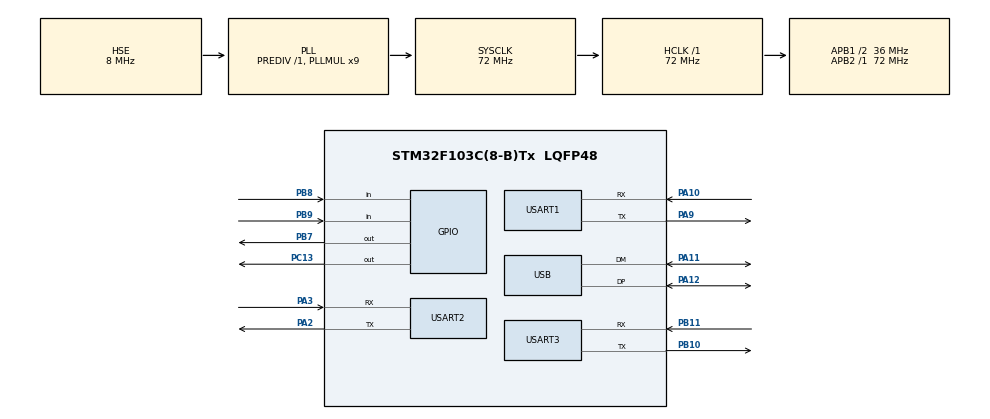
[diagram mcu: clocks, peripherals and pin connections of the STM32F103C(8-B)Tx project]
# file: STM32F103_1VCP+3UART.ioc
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Dma.MEMTOMEM.6.Direction=DMA_MEMORY_TO_MEMORY
Dma.MEMTOMEM.6.Instance=DMA1_Channel1
Dma.MEMTOMEM.6.MemDataAlignment=DMA_MDATAALIGN_BYTE
Dma.MEMTOMEM.6.MemInc=DMA_MINC_ENABLE
Dma.MEMTOMEM.6.Mode=DMA_NORMAL
Dma.MEMTOMEM.6.PeriphDataAlignment=DMA_PDATAALIGN_BYTE
Dma.MEMTOMEM.6.PeriphInc=DMA_PINC_ENABLE
Dma.MEMTOMEM.6.Priority=DMA_PRIORITY_MEDIUM
Dma.Request0=USART1_RX
Dma.Request1=USART1_TX
Dma.Request2=USART2_RX
Dma.Request3=USART2_TX
Dma.Request4=USART3_RX
Dma.Request5=USART3_TX
Dma.Request6=MEMTOMEM
Dma.USART1_RX.0.Direction=DMA_PERIPH_TO_MEMORY
Dma.USART1_RX.0.Instance=DMA1_Channel5
Dma.USART1_RX.0.MemDataAlignment=DMA_MDATAALIGN_BYTE
Dma.USART1_RX.0.MemInc=DMA_MINC_ENABLE
Dma.USART1_RX.0.Mode=DMA_CIRCULAR
Dma.USART1_RX.0.PeriphDataAlignment=DMA_PDATAALIGN_BYTE
Dma.USART1_RX.0.PeriphInc=DMA_PINC_DISABLE
Dma.USART1_RX.0.Priority=DMA_PRIORITY_HIGH
Dma.USART1_TX.1.Direction=DMA_MEMORY_TO_PERIPH
Dma.USART1_TX.1.Instance=DMA1_Channel4
Dma.USART1_TX.1.MemDataAlignment=DMA_MDATAALIGN_BYTE
Dma.USART1_TX.1.MemInc=DMA_MINC_ENABLE
Dma.USART1_TX.1.Mode=DMA_NORMAL
Dma.USART1_TX.1.PeriphDataAlignment=DMA_PDATAALIGN_BYTE
Dma.USART1_TX.1.PeriphInc=DMA_PINC_DISABLE
Dma.USART1_TX.1.Priority=DMA_PRIORITY_LOW
Dma.USART2_RX.2.Direction=DMA_PERIPH_TO_MEMORY
Dma.USART2_RX.2.Instance=DMA1_Channel6
Dma.USART2_RX.2.MemDataAlignment=DMA_MDATAALIGN_BYTE
Dma.USART2_RX.2.MemInc=DMA_MINC_ENABLE
Dma.USART2_RX.2.Mode=DMA_CIRCULAR
Dma.USART2_RX.2.PeriphDataAlignment=DMA_PDATAALIGN_BYTE
Dma.USART2_RX.2.PeriphInc=DMA_PINC_DISABLE
Dma.USART2_RX.2.Priority=DMA_PRIORITY_HIGH
Dma.USART2_TX.3.Direction=DMA_MEMORY_TO_PERIPH
Dma.USART2_TX.3.Instance=DMA1_Channel7
Dma.USART2_TX.3.MemDataAlignment=DMA_MDATAALIGN_BYTE
Dma.USART2_TX.3.MemInc=DMA_MINC_ENABLE
Dma.USART2_TX.3.Mode=DMA_NORMAL
Dma.USART2_TX.3.PeriphDataAlignment=DMA_PDATAALIGN_BYTE
Dma.USART2_TX.3.PeriphInc=DMA_PINC_DISABLE
Dma.USART2_TX.3.Priority=DMA_PRIORITY_LOW
Dma.USART3_RX.4.Direction=DMA_PERIPH_TO_MEMORY
Dma.USART3_RX.4.Instance=DMA1_Channel3
Dma.USART3_RX.4.MemDataAlignment=DMA_MDATAALIGN_BYTE
Dma.USART3_RX.4.MemInc=DMA_MINC_ENABLE
Dma.USART3_RX.4.Mode=DMA_CIRCULAR
Dma.USART3_RX.4.PeriphDataAlignment=DMA_PDATAALIGN_BYTE
Dma.USART3_RX.4.PeriphInc=DMA_PINC_DISABLE
Dma.USART3_RX.4.Priority=DMA_PRIORITY_HIGH
Dma.USART3_TX.5.Direction=DMA_MEMORY_TO_PERIPH
Dma.USART3_TX.5.Instance=DMA1_Channel2
Dma.USART3_TX.5.MemDataAlignment=DMA_MDATAALIGN_BYTE
Dma.USART3_TX.5.MemInc=DMA_MINC_ENABLE
Dma.USART3_TX.5.Mode=DMA_NORMAL
Dma.USART3_TX.5.PeriphDataAlignment=DMA_PDATAALIGN_BYTE
Dma.USART3_TX.5.PeriphInc=DMA_PINC_DISABLE
Dma.USART3_TX.5.Priority=DMA_PRIORITY_LOW
Mcu.Family=STM32F1
Mcu.Name=STM32F103C(8-B)Tx
Mcu.Package=LQFP48
NVIC.DMA1_Channel2_IRQn=true\:0\:0\:false\:false\:true\:false\:true
NVIC.DMA1_Channel3_IRQn=true\:0\:0\:false\:false\:true\:false\:true
NVIC.DMA1_Channel4_IRQn=true\:0\:0\:false\:false\:true\:false\:true
NVIC.DMA1_Channel5_IRQn=true\:0\:0\:false\:false\:true\:false\:true
NVIC.DMA1_Channel6_IRQn=true\:0\:0\:false\:false\:true\:false\:true
NVIC.DMA1_Channel7_IRQn=true\:0\:0\:false\:false\:true\:false\:true
NVIC.PriorityGroup=NVIC_PRIORITYGROUP_4
NVIC.USART1_IRQn=true\:0\:0\:false\:false\:true\:true\:true
NVIC.USART2_IRQn=true\:0\:0\:false\:false\:true\:true\:true
NVIC.USART3_IRQn=true\:0\:0\:false\:false\:true\:true\:true
NVIC.USB_LP_CAN1_RX0_IRQn=true\:0\:0\:false\:false\:true\:false\:true
PA10.Mode=Asynchronous
PA10.Signal=USART1_RX
PA11.Mode=Device
PA11.Signal=USB_DM
PA12.Mode=Device
PA12.Signal=USB_DP
PA13.Mode=Serial_Wire
PA13.Signal=SYS_JTMS-SWDIO
PA14.Mode=Serial_Wire
PA14.Signal=SYS_JTCK-SWCLK
PA2.Mode=Asynchronous
PA2.Signal=USART2_TX
PA3.Mode=Asynchronous
PA3.Signal=USART2_RX
PA9.Mode=Asynchronous
PA9.Signal=USART1_TX
PB10.Mode=Asynchronous
PB10.Signal=USART3_TX
PB11.Mode=Asynchronous
PB11.Signal=USART3_RX
PB7.GPIO_PuPd=GPIO_PULLDOWN
PB7.Signal=GPIO_Output
PB8.GPIO_PuPd=GPIO_PULLUP
PB8.Signal=GPIO_Input
PB9.GPIO_PuPd=GPIO_PULLUP
PB9.Signal=GPIO_Input
PC13-TAMPER-RTC.GPIO_PuPd=GPIO_PULLUP
PC13-TAMPER-RTC.Signal=GPIO_Output
PD0-OSC_IN.Mode=HSE-External-Oscillator
PD0-OSC_IN.Signal=RCC_OSC_IN
PD1-OSC_OUT.Mode=HSE-External-Oscillator
PD1-OSC_OUT.Signal=RCC_OSC_OUT
ProjectManager.HeapSize=0x2000
ProjectManager.StackSize=0x400
ProjectManager.TargetToolchain=MDK-ARM V5.27
RCC.AHBFreq_Value=72000000
RCC.APB1CLKDivider=RCC_HCLK_DIV2
RCC.APB1Freq_Value=36000000
RCC.APB1TimFreq_Value=72000000
RCC.APB2Freq_Value=72000000
RCC.APB2TimFreq_Value=72000000
RCC.HCLKFreq_Value=72000000
RCC.PLLMUL=RCC_PLL_MUL9
RCC.SYSCLKFreq_VALUE=72000000
RCC.SYSCLKSource=RCC_SYSCLKSOURCE_PLLCLK
RCC.USBFreq_Value=48000000
RCC.USBPrescaler=RCC_USBCLKSOURCE_PLL_DIV1_5
USART1.VirtualMode=VM_ASYNC
USART2.VirtualMode=VM_ASYNC
USART3.VirtualMode=VM_ASYNC
USB_DEVICE.APP_RX_DATA_SIZE=1000
USB_DEVICE.APP_TX_DATA_SIZE=1000
USB_DEVICE.CLASS_NAME_FS=CDC
USB_DEVICE.VirtualMode=Cdc
USB_DEVICE.VirtualModeFS=Cdc_FS
VP_USB_DEVICE_VS_USB_DEVICE_CDC_FS.Mode=CDC_FS
board=custom

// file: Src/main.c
/* USER CODE BEGIN Header */
/**
  ******************************************************************************
  * @file           : main.c
  * @brief          : Main program body
  ******************************************************************************
  * @attention
  *
  * <h2><center>&copy; Copyright (c) 2021 STMicroelectronics.
  * All rights reserved.</center></h2>
  *
  * This software component is licensed by ST under Ultimate Liberty license
  * SLA0044, the "License"; You may not use this file except in compliance with
  * the License. You may obtain a copy of the License at:
  *                             www.st.com/SLA0044
  *
  ******************************************************************************
  */
/* USER CODE END Header */
#include "main.h"
#include "usb_device.h"

/* USER CODE BEGIN Includes */
#include <string.h>
#include "usbd_cdc_if.h"

/* USER CODE END Includes */

/* USER CODE BEGIN PD */

const uint8_t vcp_print_info[] =
{
"\r\n\
====================================\r\n\
Uart-1:  Rx-PA10   Tx-PA9\r\n\
Uart-2:  Rx-PA3    -\r\n\
Uart-3:  Rx-PB11   -\r\n\r\n\
short PB7-PB8, print in Hex mode, or\r\n\
short PB8-PB9, print in ASCII mode\r\n\r\n\
Uart speed = USB-VCP speed.\r\n\
====================================\r\n"
};

#define USE_UART_PREFIX         1 //0 - disable, 1 - VCP received "Uart-1: " as UART1 Rx message prefix.

#define UARTx_PREFIX_LEN        10
#define UART1_PREFIX            "\r\nUart-1: "
#define UART2_PREFIX            "\r\nUart-2: "
#define UART3_PREFIX            "\r\nUart-3: "

const uint8_t uart1_prefix[16] = {UART1_PREFIX};
const uint8_t uart2_prefix[16] = {UART2_PREFIX};
const uint8_t uart3_prefix[16] = {UART3_PREFIX};

/* USER CODE END PD */

UART_HandleTypeDef huart1;
UART_HandleTypeDef huart2;
UART_HandleTypeDef huart3;
DMA_HandleTypeDef hdma_usart1_rx;
DMA_HandleTypeDef hdma_usart1_tx;
DMA_HandleTypeDef hdma_usart2_rx;
DMA_HandleTypeDef hdma_usart2_tx;
DMA_HandleTypeDef hdma_usart3_rx;
DMA_HandleTypeDef hdma_usart3_tx;

DMA_HandleTypeDef hdma_memtomem_dma1_channel1;
/* USER CODE BEGIN PV */
volatile uint32_t u32LEDcounter;
uint32_t u32LEDblinkEnable;
uint32_t pause_for_line_open = 1;
uint32_t print_hex_flag = 0;      //0-ASCII, 1-HEX print out
const char HEX[] = "0123456789ABCDEF";
static uint8_t u8CDC_Tx_Buf[1024] = {0};

/* USER CODE END PV */

void SystemClock_Config(void);
static void MX_GPIO_Init(void);
static void MX_DMA_Init(void);
static void MX_USART1_UART_Init(void);
static void MX_USART2_UART_Init(void);
static void MX_USART3_UART_Init(void);
/* USER CODE BEGIN PFP */
ctx_t ctx;

/* USER CODE END PFP */

/* USER CODE BEGIN 0 */
void CDC_Tx_HexString(uint8_t *data, uint8_t length)
{
  int len = length;

  while(len--)
  {
    *(u8CDC_Tx_Buf+3*len+2) = ' '; //space
    *(u8CDC_Tx_Buf+3*len+1) = HEX[(*(data+len))&0x0f];
    *(u8CDC_Tx_Buf+3*len)   = HEX[(*(data+len))>>4];
  }
  while (CDC_Transmit_FS(u8CDC_Tx_Buf, 3*length) == USBD_BUSY) //print out
  {
  }
}

void CDC_Tx_AscString(uint8_t *data, uint8_t length)
{
  while (CDC_Transmit_FS(data, length) == USBD_BUSY) //print out
  {
  }
}

/* USER CODE END 0 */

int main(void)
{
  /* USER CODE BEGIN 1 */

//  SCB->VTOR = 0x08004000; //uncomment this line for YAB use, set IROM1 Start address coordinately.

  int i;
  uart_ctx_t * uart_ctx;
  memset(&ctx, 0, sizeof(ctx_t));
  uint8_t * prefix;

  ctx.uart1.name = "UART1";
  ctx.uart1.huart = &huart1;
  ctx.uart1.hdma_rx = &hdma_usart1_rx;
  ctx.uart1.hdma_tx = &hdma_usart1_tx;
  ctx.uart1.prefix = (uint8_t*)&uart1_prefix;
  ctx.uart1.irq_num = USART1_IRQn;

  ctx.uart2.name = "UART2";
  ctx.uart2.huart = &huart2;
  ctx.uart2.hdma_rx = &hdma_usart2_rx;
  ctx.uart2.hdma_tx = &hdma_usart2_tx;
  ctx.uart2.prefix = (uint8_t*)&uart2_prefix;
  ctx.uart2.irq_num = USART2_IRQn;

  ctx.uart3.name = "UART3";
  ctx.uart3.huart = &huart3;
  ctx.uart3.hdma_rx = &hdma_usart3_rx;
  ctx.uart3.hdma_tx = &hdma_usart3_tx;
  ctx.uart3.prefix = (uint8_t*)&uart3_prefix;
  ctx.uart3.irq_num = USART3_IRQn;

  ctx.memcpy_dma = &hdma_memtomem_dma1_channel1;

  /* USER CODE END 1 */

  /* MCU Configuration--------------------------------------------------------*/

  /* Reset of all peripherals, Initializes the Flash interface and the Systick. */
  HAL_Init();

  /* Configure the system clock */
  SystemClock_Config();

  /* Initialize all configured peripherals */
  MX_GPIO_Init();
  MX_DMA_Init();
  MX_USART1_UART_Init();
  MX_USART2_UART_Init();
  MX_USART3_UART_Init();
  MX_USB_DEVICE_Init();
  /* USER CODE BEGIN 2 */

  while(pause_for_line_open)
  {
    HAL_Delay(100);
  }
  HAL_Delay(1000);
  //send info
  CDC_Transmit_FS((uint8_t *)vcp_print_info, sizeof(vcp_print_info)-1);

  /* USER CODE END 2 */

  /* Infinite loop */
  /* USER CODE BEGIN WHILE */
  while (1)
  {
    // __wfe();
    /* USER CODE END WHILE */

    /* USER CODE BEGIN 3 */
    for (i = 1; i <= 3; i++)
    {
      if (i == 1)      uart_ctx = &ctx.uart1;
      else if (i == 2) uart_ctx = &ctx.uart2;
      else             uart_ctx = &ctx.uart3;

      if (uart_ctx->buf_idx != uart_ctx->buf.idx)
      {
        int buf_idx = uart_ctx->buf_idx;

#if USE_UART_PREFIX
        CDC_Transmit_FS(uart_ctx->prefix, UARTx_PREFIX_LEN); //print: "Uart-x: "
#endif //#if USE_UART_PREFIX

        if (!print_hex_flag)
             CDC_Tx_AscString((uint8_t *)uart_ctx->buf.data[buf_idx], uart_ctx->buf.len[buf_idx]);
        else CDC_Tx_HexString((uint8_t *)uart_ctx->buf.data[buf_idx], uart_ctx->buf.len[buf_idx]);

        uart_ctx->buf_idx = buf_idx ? 0 : 1;
        // SEGGER_RTT_printf(0, "mloop: buf=%d\n", buf_idx);
      }

      if (uart_ctx->buf.rest_len > 0)
      {
        int tx_len = uart_ctx->buf.rest_len;
        uart_ctx->buf.rest_len = 0;
        uart_ctx->buf_idx = 0;

#if USE_UART_PREFIX
        CDC_Transmit_FS(uart_ctx->prefix, UARTx_PREFIX_LEN); //print: "UARTx: "
#endif //#if USE_UART_PREFIX

        if (!print_hex_flag)
             CDC_Tx_AscString((uint8_t *)uart_ctx->buf.data_rest, tx_len);
        else CDC_Tx_HexString((uint8_t *)uart_ctx->buf.data_rest, tx_len);
        // SEGGER_RTT_printf(0, "rest: len=%d\n", tx_len);
      }
    }
    //LED
    if (u32LEDblinkEnable)
    {
      if (u32LEDcounter <= 50) //~50ms on
      {
        HAL_GPIO_WritePin(GPIOC, GPIO_PIN_13, GPIO_PIN_RESET); //LED on
      }
      else
      {
        HAL_GPIO_WritePin(GPIOC, GPIO_PIN_13, GPIO_PIN_SET); //LED off
        u32LEDblinkEnable = 0;
      }
    }
    else
    {
      if (u32LEDcounter >= 2000) //~2s blink
      {
        u32LEDblinkEnable = 1;
        u32LEDcounter = 1;

        if (0 == HAL_GPIO_ReadPin(GPIOB, GPIO_PIN_8)) print_hex_flag = 1; //PB8=Low,  HEX mode
        else                                          print_hex_flag = 0; //PB8=High, ASCII mode
      }
    }
  }
  /* USER CODE END 3 */
}

void SystemClock_Config(void)
{
  RCC_OscInitTypeDef RCC_OscInitStruct = {0};
  RCC_ClkInitTypeDef RCC_ClkInitStruct = {0};
  RCC_PeriphCLKInitTypeDef PeriphClkInit = {0};

  /** Initializes the RCC Oscillators according to the specified parameters
  * in the RCC_OscInitTypeDef structure.
  */
  RCC_OscInitStruct.OscillatorType = RCC_OSCILLATORTYPE_HSE;
  RCC_OscInitStruct.HSEState = RCC_HSE_ON;
  RCC_OscInitStruct.HSEPredivValue = RCC_HSE_PREDIV_DIV1;
  RCC_OscInitStruct.HSIState = RCC_HSI_ON;
  RCC_OscInitStruct.PLL.PLLState = RCC_PLL_ON;
  RCC_OscInitStruct.PLL.PLLSource = RCC_PLLSOURCE_HSE;
  RCC_OscInitStruct.PLL.PLLMUL = RCC_PLL_MUL9;
  if (HAL_RCC_OscConfig(&RCC_OscInitStruct) != HAL_OK)
  {
    Error_Handler();
  }
  /** Initializes the CPU, AHB and APB buses clocks
  */
  RCC_ClkInitStruct.ClockType = RCC_CLOCKTYPE_HCLK|RCC_CLOCKTYPE_SYSCLK
                              |RCC_CLOCKTYPE_PCLK1|RCC_CLOCKTYPE_PCLK2;
  RCC_ClkInitStruct.SYSCLKSource = RCC_SYSCLKSOURCE_PLLCLK;
  RCC_ClkInitStruct.AHBCLKDivider = RCC_SYSCLK_DIV1;
  RCC_ClkInitStruct.APB1CLKDivider = RCC_HCLK_DIV2;
  RCC_ClkInitStruct.APB2CLKDivider = RCC_HCLK_DIV1;

  if (HAL_RCC_ClockConfig(&RCC_ClkInitStruct, FLASH_LATENCY_2) != HAL_OK)
  {
    Error_Handler();
  }
  PeriphClkInit.PeriphClockSelection = RCC_PERIPHCLK_USB;
  PeriphClkInit.UsbClockSelection = RCC_USBCLKSOURCE_PLL_DIV1_5;
  if (HAL_RCCEx_PeriphCLKConfig(&PeriphClkInit) != HAL_OK)
  {
    Error_Handler();
  }
}

static void MX_USART1_UART_Init(void)
{

  huart1.Instance = USART1;
  huart1.Init.BaudRate = 115200;
  huart1.Init.WordLength = UART_WORDLENGTH_8B;
  huart1.Init.StopBits = UART_STOPBITS_1;
  huart1.Init.Parity = UART_PARITY_NONE;
  huart1.Init.Mode = UART_MODE_TX_RX;
  huart1.Init.HwFlowCtl = UART_HWCONTROL_NONE;
  huart1.Init.OverSampling = UART_OVERSAMPLING_16;
  if (HAL_UART_Init(&huart1) != HAL_OK)
  {
    Error_Handler();
  }

}

static void MX_USART2_UART_Init(void)
{

  huart2.Instance = USART2;
  huart2.Init.BaudRate = 115200;
  huart2.Init.WordLength = UART_WORDLENGTH_8B;
  huart2.Init.StopBits = UART_STOPBITS_1;
  huart2.Init.Parity = UART_PARITY_NONE;
  huart2.Init.Mode = UART_MODE_TX_RX;
  huart2.Init.HwFlowCtl = UART_HWCONTROL_NONE;
  huart2.Init.OverSampling = UART_OVERSAMPLING_16;
  if (HAL_UART_Init(&huart2) != HAL_OK)
  {
    Error_Handler();
  }

}

static void MX_USART3_UART_Init(void)
{

  huart3.Instance = USART3;
  huart3.Init.BaudRate = 115200;
  huart3.Init.WordLength = UART_WORDLENGTH_8B;
  huart3.Init.StopBits = UART_STOPBITS_1;
  huart3.Init.Parity = UART_PARITY_NONE;
  huart3.Init.Mode = UART_MODE_TX_RX;
  huart3.Init.HwFlowCtl = UART_HWCONTROL_NONE;
  huart3.Init.OverSampling = UART_OVERSAMPLING_16;
  if (HAL_UART_Init(&huart3) != HAL_OK)
  {
    Error_Handler();
  }

}

static void MX_DMA_Init(void)
{

  /* DMA controller clock enable */
  __HAL_RCC_DMA1_CLK_ENABLE();

  /* Configure DMA request hdma_memtomem_dma1_channel1 on DMA1_Channel1 */
  hdma_memtomem_dma1_channel1.Instance = DMA1_Channel1;
  hdma_memtomem_dma1_channel1.Init.Direction = DMA_MEMORY_TO_MEMORY;
  hdma_memtomem_dma1_channel1.Init.PeriphInc = DMA_PINC_ENABLE;
  hdma_memtomem_dma1_channel1.Init.MemInc = DMA_MINC_ENABLE;
  hdma_memtomem_dma1_channel1.Init.PeriphDataAlignment = DMA_PDATAALIGN_BYTE;
  hdma_memtomem_dma1_channel1.Init.MemDataAlignment = DMA_MDATAALIGN_BYTE;
  hdma_memtomem_dma1_channel1.Init.Mode = DMA_NORMAL;
  hdma_memtomem_dma1_channel1.Init.Priority = DMA_PRIORITY_MEDIUM;
  if (HAL_DMA_Init(&hdma_memtomem_dma1_channel1) != HAL_OK)
  {
    Error_Handler( );
  }

  /* DMA interrupt init */
  /* DMA1_Channel2_IRQn interrupt configuration */
  HAL_NVIC_SetPriority(DMA1_Channel2_IRQn, 0, 0);
  HAL_NVIC_EnableIRQ(DMA1_Channel2_IRQn);
  /* DMA1_Channel3_IRQn interrupt configuration */
  HAL_NVIC_SetPriority(DMA1_Channel3_IRQn, 0, 0);
  HAL_NVIC_EnableIRQ(DMA1_Channel3_IRQn);
  /* DMA1_Channel4_IRQn interrupt configuration */
  HAL_NVIC_SetPriority(DMA1_Channel4_IRQn, 0, 0);
  HAL_NVIC_EnableIRQ(DMA1_Channel4_IRQn);
  /* DMA1_Channel5_IRQn interrupt configuration */
  HAL_NVIC_SetPriority(DMA1_Channel5_IRQn, 0, 0);
  HAL_NVIC_EnableIRQ(DMA1_Channel5_IRQn);
  /* DMA1_Channel6_IRQn interrupt configuration */
  HAL_NVIC_SetPriority(DMA1_Channel6_IRQn, 0, 0);
  HAL_NVIC_EnableIRQ(DMA1_Channel6_IRQn);
  /* DMA1_Channel7_IRQn interrupt configuration */
  HAL_NVIC_SetPriority(DMA1_Channel7_IRQn, 0, 0);
  HAL_NVIC_EnableIRQ(DMA1_Channel7_IRQn);

}

static void MX_GPIO_Init(void)
{
  GPIO_InitTypeDef GPIO_InitStruct = {0};

  /* GPIO Ports Clock Enable */
  __HAL_RCC_GPIOC_CLK_ENABLE();
  __HAL_RCC_GPIOD_CLK_ENABLE();
  __HAL_RCC_GPIOA_CLK_ENABLE();
  __HAL_RCC_GPIOB_CLK_ENABLE();

  /*Configure GPIO pin Output Level */
  HAL_GPIO_WritePin(GPIOC, GPIO_PIN_13, GPIO_PIN_RESET);

  /*Configure GPIO pin Output Level */
  HAL_GPIO_WritePin(GPIOB, GPIO_PIN_7, GPIO_PIN_RESET);

  /*Configure GPIO pin : PC13 */
  GPIO_InitStruct.Pin = GPIO_PIN_13;
  GPIO_InitStruct.Mode = GPIO_MODE_OUTPUT_PP;
  GPIO_InitStruct.Pull = GPIO_PULLUP;
  GPIO_InitStruct.Speed = GPIO_SPEED_FREQ_LOW;
  HAL_GPIO_Init(GPIOC, &GPIO_InitStruct);

  /*Configure GPIO pin : PB7 */
  GPIO_InitStruct.Pin = GPIO_PIN_7;
  GPIO_InitStruct.Mode = GPIO_MODE_OUTPUT_PP;
  GPIO_InitStruct.Pull = GPIO_PULLDOWN;
  GPIO_InitStruct.Speed = GPIO_SPEED_FREQ_LOW;
  HAL_GPIO_Init(GPIOB, &GPIO_InitStruct);

  /*Configure GPIO pins : PB8 PB9 */
  GPIO_InitStruct.Pin = GPIO_PIN_8|GPIO_PIN_9;
  GPIO_InitStruct.Mode = GPIO_MODE_INPUT;
  GPIO_InitStruct.Pull = GPIO_PULLUP;
  HAL_GPIO_Init(GPIOB, &GPIO_InitStruct);

}

/* USER CODE BEGIN 4 */

static uart_ctx_t * getUartPort(UART_HandleTypeDef *huart)
{
  uart_ctx_t * uart_ctx;

  if      (huart == &huart1) uart_ctx = &ctx.uart1;
  else if (huart == &huart2) uart_ctx = &ctx.uart2;
  else                       uart_ctx = &ctx.uart3;

  return uart_ctx;
}

void HAL_UART_RxHalfCpltCallback(UART_HandleTypeDef *huart)
{
  uart_ctx_t * uart_ctx = getUartPort(huart);

  if (uart_ctx->buf.idx != 0) {
    uart_ctx->buf.idx = 0;
  }

  if (uart_ctx->buf_idx == 1) {
    // SEGGER_RTT_printf(0, "rxhalf: %s; [X]\n", uart_ctx->name);
    return;
  }
  // In Rx Half callback, the length of received data is half length of double buffer.
  uart_ctx->buf.len[0] = DBL_BUF_LEN;
  // Set index of double buffer to next.
  uart_ctx->buf.idx = 1;
  // SEGGER_RTT_printf(0, "rxhalf: %s; \n", uart_ctx->name);
}

void HAL_UART_RxCpltCallback(UART_HandleTypeDef *huart)
{
  uart_ctx_t * uart_ctx = getUartPort(huart);

  if (uart_ctx->buf.idx != 1) {
    uart_ctx->buf.idx = 1;
  }

  if (uart_ctx->buf_idx == 0) {
    // SEGGER_RTT_printf(0, "rxcmpl: %s; [X]\n", uart_ctx->name);
    return;
  }
  // In Rx callback, the length of received data is half length of double buffer.
  uart_ctx->buf.len[1] = DBL_BUF_LEN;
  // Set index of double buffer to next.
  uart_ctx->buf.idx = 0;
  // SEGGER_RTT_printf(0, "rxcmpl: %s; \n", uart_ctx->name);
}

void HAL_UART_ErrorCallback(UART_HandleTypeDef *huart)
{
  uart_ctx_t * uart_ctx = getUartPort(huart);

//  SEGGER_RTT_printf(0, "uart error: %s; \n", uart_ctx->name);
  HAL_UART_DMAStop(huart);
  HAL_UART_Receive_DMA(huart, (uint8_t *)uart_ctx->buf.data[0], DBL_BUF_TOTAL_LEN);
}

/* USER CODE END 4 */

void Error_Handler(void)
{
  /* USER CODE BEGIN Error_Handler_Debug */
  /* User can add his own implementation to report the HAL error return state */
  __disable_irq();
  while (1)
  {
//    SEGGER_RTT_printf(0, "_Error_Handler: %s #%d\n", file, line);
    HAL_Delay(1000);
  }
  /* USER CODE END Error_Handler_Debug */
}

/************************ (C) COPYRIGHT STMicroelectronics *****END OF FILE****/
